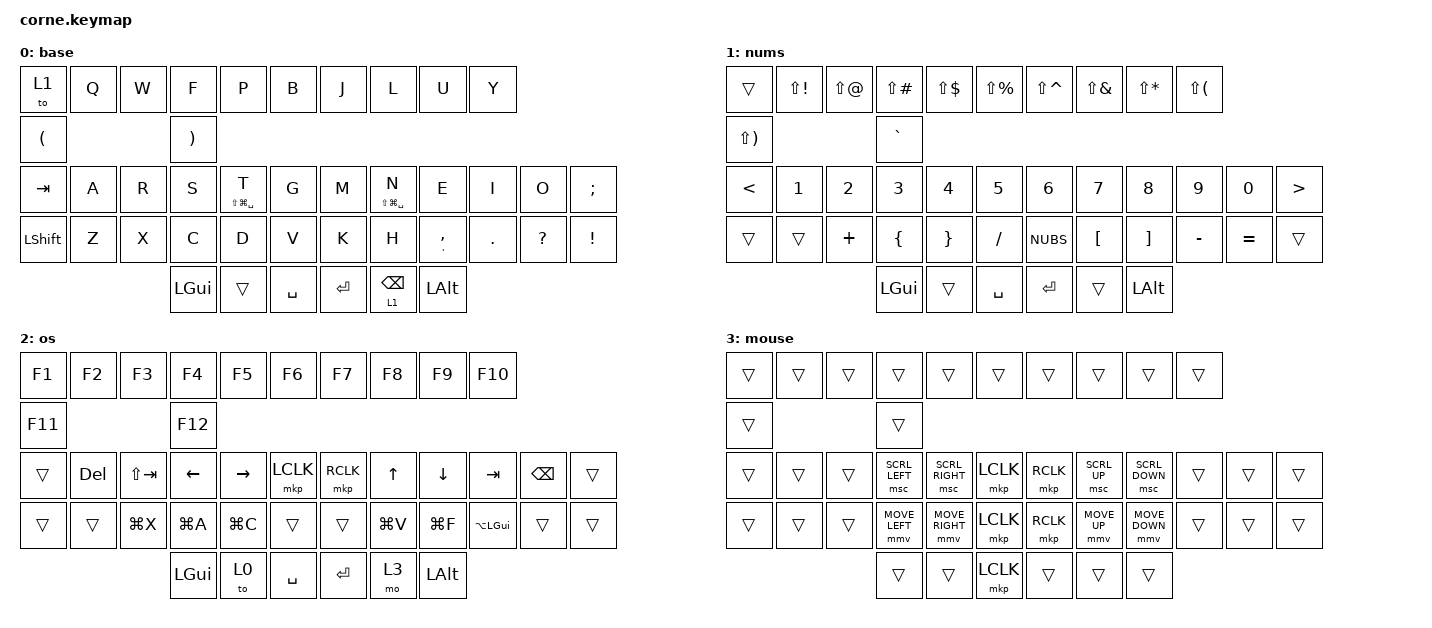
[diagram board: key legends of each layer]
/*
 * Copyright (c) 2020 The ZMK Contributors
 *
 * SPDX-License-Identifier: MIT
 */
// INCLUDES - START  ***********************************************************
// ZMK Core Includes
// JINIUS Includes
// Key position includes

#include "corne_42keys.h"
#include "keys_ru.h"
#include <behaviors.dtsi>
#include <dt-bindings/zmk/bt.h>
#include <dt-bindings/zmk/keys.h>

// INCLUDES - ENDS *************************************************************
// DEFINES - START *************************************************************
// DEFINES LAYERS - START ******************************************************
// Layer shotcuts defined for easier identification.
// The order must match in which they are defined below.

#define QWT__BT 0
#define FN__NUM 1
#define SYMBOLS 2
#define BT__NAV 3
#define CDH__BT 4

// DEFINES LAYERS - ENDS *******************************************************
// DEFINES BLUETOOTH PROFILE SELECTION - START *********************************

#define BTP0 BT_SEL 0
#define BTP1 BT_SEL 1
#define BTP2 BT_SEL 2
#define BTP3 BT_SEL 3
#define BTP4 BT_SEL 4

// DEFINES BLUETOOTH PROFILE SELECTION - ENDS **********************************
// DEFINES KEY TYPE ALIAS - START **********************************************

#define XXX &none   // To trap the key event in a given layer
#define ___ &trans  // To pass the key event to the next active layer

// DEFINES KEY TYPE ALIAS - ENDS ***********************************************
// DEFINES GLOBAL SETTINGS - START *********************************************

#define QUICK_TAP_MS 175

// DEFINES GLOBAL SETTINGS - ENDS **********************************************
// DEFINES KEY CONFIGURATION SETTINGS - START **********************************

&sk {
    release-after-ms = <900>;  // release after 0.6s
    quick-release;             // no double capitalization when rolling keys
};

&sl {
    ignore-modifiers;          // allow chording sticky mods & layers
};

&lt {
    flavor = "balanced";
    tapping-term-ms = <200>;
    quick-tap-ms = <QUICK_TAP_MS>;
};

// DEFINES KEY CONFIGURATION SETTINGS - ENDS ***********************************
// DEFINES COMBINATION KEYS FOR HOMEROW MODS - START ***************************

#define LEFT_HAND_KEYS LT0 LT1 LT2 LT3 LT4 LT5 LM0 LM1 LM2 LM3 LM4 LM5 LB0 LB1 LB2 LB3 LB4 LB5
#define RIGHT_HAND_KEYS RT0 RT1 RT2 RT3 RT4 RT5 RM0 RM1 RM2 RM3 RM4 RM5 RB0 RB1 RB2 RB3 RB4 RB5
#define THUMB_KEYS LH0 LH1 LH2 RH0 RH1 RH2

// DEFINES COMBINATION KEYS FOR HOMEROW MODS - ENDS ****************************
// DEFINES - ENDS **************************************************************
// ROOT DEVICETREE NODE - START ************************************************

/ {
    // COMBOS - START **************************************************************
    // REF: https://zmk.dev/docs/features/combos
    // NOTES: Need to figure out if a specific combo is needed.
    //    > Possible combo would be <SHIFT> + <COMMAND> + <OPTION> + V in mac to
    //      paste the clipboard content as plain text
    // COMBOS - ENDS ***************************************************************
    // BEHAVIOR - START ************************************************************
    /*
// SAMPLE CODE 01: TOGGLE-ON-TAP, MOMENTARY-ON-HOLD LAYERS
// https://zmk.dev/docs/behaviors/hold-tap
// Hold-Tap Example: Momentary layer on Hold, Toggle layer on Tap
#include <dt-bindings/zmk/keys.h>
#include <behaviors.dtsi>

#define MO_TOG(layer) &mo_tog layer layer   // Macro to apply momentary-layer-on-hold/toggle-layer-on-tap to a specific layer

/ {
    behaviors {
        mo_tog: behavior_mo_tog {
            compatible = "zmk,behavior-hold-tap";
            label = "mo_tog";
            #binding-cells = <2>;
            flavor = "hold-preferred";
            tapping-term-ms = <200>;
            bindings = <&mo>, <&tog>;
        };
    };

    keymap {
        compatible = "zmk,keymap";
        default_layer {
            bindings = <
                &mo_tog 2 1     // &mo 2 on hold, &tog 1 on tap
                MO_TOG(3)       // &mo 3 on hold, &tog 3 on tap
            >;
        };
    };
};
//******************************************************************************

// SAMPLE CODE 02: HOMEROW MODS
// https://zmk.dev/docs/behaviors/hold-tap#option-1-cross-hand-only-modifiers-using-tap-unless-interrupted-and-positional-hold-tap-hold-trigger-key-positions
// Option 1: cross-hand only modifiers, using tap-unless-interrupted and positional hold-tap (hold-trigger-key-positions)
#include <dt-bindings/zmk/keys.h>
#include <behaviors.dtsi>

/ {
    behaviors {
        lh_pht: left_hand_positional_hold_tap {
            compatible = "zmk,behavior-hold-tap";
            label = "LEFT_POSITIONAL_HOLD_TAP";
            #binding-cells = <2>;
            flavor = "tap-unless-interrupted";
            tapping-term-ms = <100>;                        // <---[[produces tap if held longer than tapping-term-ms]]
            quick-tap-ms = <200>;
            bindings = <&kp>, <&kp>;
            hold-trigger-key-positions = <5 6 7 8 9 10>;    // <---[[right-hand keys]]
        };
    };

    keymap {
        compatible = "zmk,keymap";
        default_layer {
            bindings = <
                // position 0     pos 1             pos 2             pos 3             pos 4    pos 5    pos 6    pos 7    pos 8    pos 9    pos 10
                &lh_pht LSFT A    &lh_pht LGUI S    &lh_pht LALT D    &lh_pht LCTL F    &kp G    &kp H    &kp I    &kp J    &kp K    &kp L    &kp SEMI
            >;
        };
    };
};
//******************************************************************************

// SAMPLE CODE 03: HOMEROW MODS
// https://zmk.dev/docs/behaviors/hold-tap#option-2-tap-preferred
// Option 2: tap-preferred
#include <behaviors.dtsi>
#include <dt-bindings/zmk/keys.h>

/ {
    behaviors {
        hm: homerow_mods {
            compatible = "zmk,behavior-hold-tap";
            label = "HOMEROW_MODS";
            #binding-cells = <2>;
            tapping-term-ms = <150>;
            quick-tap-ms = <0>;
            flavor = "tap-preferred";
            bindings = <&kp>, <&kp>;
        };
    };

    keymap {
        compatible = "zmk,keymap";
        default_layer {
            bindings = <
                &hm LCTRL A &hm LGUI S &hm LALT D &hm LSHIFT F
            >;
        };
    };
};
//******************************************************************************

// SAMPLE CODE 04: HOMEROW MODS
// https://zmk.dev/docs/behaviors/hold-tap#option-3-balanced
// Option 3: balanced
#include <behaviors.dtsi>
#include <dt-bindings/zmk/keys.h>

/ {
    behaviors {
        bhm: balanced_homerow_mods {
            compatible = "zmk,behavior-hold-tap";
            label = "HOMEROW_MODS";
            #binding-cells = <2>;
            tapping-term-ms = <200>;    // <---[[moderate duration]]
            quick-tap-ms = <0>;
            flavor = "balanced";
            bindings = <&kp>, <&kp>;
        };
    };

    keymap {
        compatible = "zmk,keymap";
        default_layer {
            bindings = <
                &bhm LCTRL A &bhm LGUI S &bhm LALT D &bhm LSHIFT F
            >;
        };
    };
};
//******************************************************************************

// SAMPLE CODE 05: MOD-MORPH
// https://zmk.dev/docs/behaviors/mod-morph#mod-morph
// Tapping sends first keypress
// Tapping while holding the specified modifier sends second keypress
// For Mac, adding this keypress will help with rotating between windows using
// GUI + GRAVE
// Already existing in ZMK: &gresc
// Sample to have GRAVE/ESCAPE on a single key
/ {
    behaviors {
        gresc: grave_escape {
            compatible = "zmk,behavior-mod-morph";
            label = "GRAVE_ESCAPE";
            #binding-cells = <0>;
            bindings = <&kp ESC>, <&kp GRAVE>;
            mods = <(MOD_LGUI|MOD_LSFT|MOD_RGUI|MOD_RSFT)>;
        };
    };
};
*/
    // BEHAVIOR DEFINITIONS - START **********************************************
    // Homerow mod definition for left hand keys

    behaviors {
        /***********************************************
     **  Homerow mod for left split keyboard
     **  as explained here: https://github.com/urob/zmk-config#timeless-homerow-mods
     **  This is a expanded version of the same functionality along with the timings
     ***********************************************/

        hml: homerow_mod_left {
            label = "HOMEROW_MOD_LEFT";
            compatible = "zmk,behavior-hold-tap";
            #binding-cells = <2>;
            bindings = <&kp>, <&kp>;

            flavor = "balanced";
            tapping-term-ms = <280>;
            quick-tap-ms = <QUICK_TAP_MS>;
            require-prior-idle-ms = <150>;
            hold-trigger-key-positions = <RIGHT_HAND_KEYS THUMB_KEYS>;
            hold-trigger-on-release;
        };

        /***********************************************
     **  Homerow mod for right split keyboard
     **  as explained here: https://github.com/urob/zmk-config#timeless-homerow-mods
     **  This is a expanded version of the same functionality along with the timings
     ***********************************************/

        hmr: homerow_mod_right {
            label = "HOMEROW_MOD_RIGHT";
            compatible = "zmk,behavior-hold-tap";
            #binding-cells = <2>;
            bindings = <&kp>, <&kp>;

            flavor = "balanced";
            tapping-term-ms = <280>;
            quick-tap-ms = <QUICK_TAP_MS>;
            require-prior-idle-ms = <150>;
            hold-trigger-key-positions = <LEFT_HAND_KEYS THUMB_KEYS>;
            hold-trigger-on-release;
        };

        /***********************************************
     **  Homerow mod for left split keyboard using Bluetooth profile selection 
     **  as explained here: https://github.com/urob/zmk-config#timeless-homerow-mods
     **  This is a expanded version of the same functionality along with the timings
     **  This behavior is used in the Bluetooth-Navigation layer only
     ***********************************************/

        hmlb: homerow_mod_left_bluetooth {
            label = "HOMEROW_MOD_LEFT_BLUETOOTH";
            compatible = "zmk,behavior-hold-tap";
            #binding-cells = <2>;
            bindings = <&kp>, <&bt>;

            flavor = "balanced";
            tapping-term-ms = <280>;
            quick-tap-ms = <QUICK_TAP_MS>;
            require-prior-idle-ms = <150>;
            hold-trigger-key-positions = <RIGHT_HAND_KEYS THUMB_KEYS>;
            hold-trigger-on-release;
        };

        /***********************************************
     **  Smart Shift Key: As explained here: https://github.com/minusfive/zmk-config#smart-shift
     **  This configuration is for the left split keyboard
     **  Similar setup is defined for the right split keyboard
     **     hold: shift
     **     tap: sticky shift
     **     double-tap: caps-word
     ***********************************************/

        ss_left: smart_shift_left {
            label = "SMART_SHIFT_LEFT";
            compatible = "zmk,behavior-mod-morph";
            #binding-cells = <0>;
            bindings = <&sk LSHFT>, <&caps_word>;

            mods = <(MOD_LSFT)>;
        };

        /***********************************************
     **  Smart Shift Key: As explained here: https://github.com/minusfive/zmk-config#smart-shift
     **  This configuration is for the right split keyboard
     **  Similar setup is defined for the left split keyboard
     **     hold: shift
     **     tap: sticky shift
     **     double-tap: caps-word
     ***********************************************/

        ss_right: smart_shift_right {
            label = "SMART_SHIFT_RIGHT";
            compatible = "zmk,behavior-mod-morph";
            #binding-cells = <0>;
            bindings = <&sk RSHFT>, <&caps_word>;

            mods = <(MOD_RSFT)>;
        };

        /***********************************************
     **  Backspace Delete: As defined here: https://github.com/minusfive/zmk-config/blob/main/knucklehead/behaviors.dtsi
     **     tap: backspace
     **     hold: repeat backspace
     **     shift + tap: delete
     **     shift + hold: repeat delete
     ***********************************************/

        bkspc_del: backspace_delete {
            label = "BACKSPACE_DELETE";
            compatible = "zmk,behavior-mod-morph";
            #binding-cells = <0>;
            bindings = <&kp BACKSPACE>, <&kp DELETE>;

            mods = <(MOD_LSFT|MOD_RSFT)>;
        };

        /***********************************************
     **  ESC Grave:
     **     tap: ESCAPE (ESC)
     **     hold: repeat ESCAPE (ESC)
     **     gui/command + tap: command + grave (~)
     **     gui/command + : repeat command + grave (~)
     ***********************************************/

        escgrv: escape_grave {
            compatible = "zmk,behavior-mod-morph";
            label = "ESCAPE_GRAVE";
            #binding-cells = <0>;
            bindings = <&kp ESC>, <&kp GRAVE>;

            mods = <(MOD_LGUI|MOD_RGUI)>;
            keep-mods = <(MOD_LGUI|MOD_RGUI)>;
        };

        /***********************************************
     **  Caret Exclamation:
     **     tap: caret (^)
     **     hold: repeat caret (^)
     **     shift + tap: exclamation (!)
     **     shift + hold: repeat exclamation (!)
     ***********************************************/

        cart_excl: caret_exclamation {
            label = "CARET_EXCLAMATION";
            compatible = "zmk,behavior-mod-morph";
            #binding-cells = <0>;
            bindings = <&kp CARET>, <&kp EXCL>;

            mods = <(MOD_LSFT|MOD_RSFT)>;
        };

        /***********************************************
     **  At Ampersand:
     **     tap: ampersand (&)
     **     hold: repeat ampersand (&)
     **     shift + tap: at (@)
     **     shift + hold: repeat at (@)
     ***********************************************/

        amp_at: ampersand_at {
            label = "AMPERSAND_AT";
            compatible = "zmk,behavior-mod-morph";
            #binding-cells = <0>;
            bindings = <&kp AMPS>, <&kp AT>;

            mods = <(MOD_LSFT|MOD_RSFT)>;
        };

        /***********************************************
     **  Star Hash:
     **     tap: star (*)
     **     hold: repeat star (*)
     **     shift + tap: hash (#)
     **     shift + hold: repeat hash (#)
     ***********************************************/

        star_hash: star_hash {
            label = "STAR_HASH";
            compatible = "zmk,behavior-mod-morph";
            #binding-cells = <0>;
            bindings = <&kp STAR>, <&kp HASH>;

            mods = <(MOD_LSFT|MOD_RSFT)>;
        };

        /***********************************************
     **  Left Parenthesis Dollar:
     **     tap: left parenthesis (()
     **     hold: repeat left parenthesis (()
     **     shift + tap: dollar ($)
     **     shift + hold: repeat dollar ($)
     ***********************************************/

        lpar_dllr: l_parenthesis_dollar {
            label = "LEFT_PARENTHESIS_DOLLAR";
            compatible = "zmk,behavior-mod-morph";
            #binding-cells = <0>;
            bindings = <&kp LPAR>, <&kp DOLLAR>;

            mods = <(MOD_LSFT|MOD_RSFT)>;
        };

        /***********************************************
     **  Right Parenthesis Percent:
     **     tap: right parenthesis ())
     **     hold: repeat right parenthesis ())
     **     shift + tap: percent (%)
     **     shift + hold: repeat percent (%)
     ***********************************************/

        rpar_prcnt: r_parenthesis_percent {
            label = "RIGHT_PARENTHESIS_PERCENT";
            compatible = "zmk,behavior-mod-morph";
            #binding-cells = <0>;
            bindings = <&kp RPAR>, <&kp PERCENT>;

            mods = <(MOD_LSFT|MOD_RSFT)>;
        };

        /***********************************************
     **  SPACE COMMAND LAYER FUN/NUM: On the left key board
     **     tap: space
     **     hold: command
     **     double tap: toggle layer
     ***********************************************/

        s_c_fn_l: space_cmd_funnum_left {
            label = "SPACE_CMD_FUNNUM_LEFT";
            compatible = "zmk,behavior-tap-dance";
            #binding-cells = <0>;
            tapping-term-ms = <200>;
            bindings = <&mt LGUI SPACE>, <&tog FN__NUM>;
        };

        /***********************************************
     **  SPACE COMMAND LAYER SYMBOLS: On the right key board
     **     tap: space
     **     hold: command
     **     double tap: toggle layer
     ***********************************************/

        s_c_sym_r: space_cmd_sym_right {
            label = "SPACE_CMD_SYMBOLS_RIGHT";
            compatible = "zmk,behavior-tap-dance";
            #binding-cells = <0>;
            tapping-term-ms = <200>;
            bindings = <&mt RGUI SPACE>, <&tog SYMBOLS>;
        };

        /***********************************************
     **  CONTROL LAYER BT__NAV: On the left key board
     **     tap: none
     **     hold: control
     **     double tap: toggle layer
     ***********************************************/

        c_btnav_l: cntrl_bt_nav_left {
            label = "CONTROL_BT_NAV_LEFT";
            compatible = "zmk,behavior-tap-dance";
            #binding-cells = <0>;
            tapping-term-ms = <200>;
            bindings = <&mt LCTRL XXX>, <&tog BT__NAV>;
        };

        /***********************************************
     **  CONTROL LAYER COLEMAKDH: On the right key board
     **     tap: none
     **     hold: control
     **     double tap: toggle layer
     ***********************************************/

        c_cdh_r: ctrl_cdh_right {
            label = "CONTROL_COLEMAKDH_RIGHT";
            compatible = "zmk,behavior-tap-dance";
            #binding-cells = <0>;
            tapping-term-ms = <200>;
            bindings = <&mt LCTRL XXX>, <&tog CDH__BT>;
        };
    };

    // BEHAVIOR DEFINITIONS - END ************************************************
    // BEHAVIOR - ENDS *************************************************************
    // MACROS - START **************************************************************
    /* ** Macro definition currently not in use
 ** Place holder only.
 ** Will be used later for switching between my personal Mac and Windows system switching
    macros {
      con_bt: con_bt {
        label = "con_bt";
        compatible = "zmk,behavior-macro";
        #binding-cells = <0>;
        bindings
          = <&macro_tap &bt BT_SEL 0>
          , <&macro_tap &tog 0>
        ;
      };
      
      con_usb: con_usb {
        label = "con_usb";
        compatible = "zmk,behavior-macro";
        #binding-cells = <0>;
        bindings
          = <&macro_tap &out OUT_USB>
          , <&macro_tap &tog 1>
        ;
      };
    };
*/
    // MACROS - ENDS ***************************************************************
    // KEYMAP NODE - START *********************************************************


    // LAYERS - ENDS ***************************************************************

    keymap {
        compatible = "zmk,keymap";

        base {
            bindings = <
          &to 1     &kp Q  &kp W  &kp F     &kp P                 &kp B        &kp J    &kp L                 &kp U           &kp
          Y    &kp LEFT_PARENTHESIS  &kp RIGHT_PARENTHESIS
          &kp TAB    &kp A  &kp R  &kp S     &hml LS(LG(SPACE)) T  &kp G        &kp M    &hml LS(LG(SPACE)) N  &kp E           &kp I    &kp O                 &kp SEMI
          &kp LSHFT  &kp Z  &kp X  &kp C     &kp D                 &kp V        &kp K    &kp H                 &hml SQT COMMA  &kp DOT  &kp QUESTION          &kp EXCLAMATION
                                   &kp LGUI  &trans                &kp SPACE    &kp RET  &lt 1 BACKSPACE       &kp LALT
                >;
        };

        nums {
                    bindings = <
        &trans         &kp LS(EXCL)   &kp LS(AT)   &kp LS(POUND)   &kp LS(DLLR)     &kp LS(PRCNT)    &kp LS(CARET)  &kp LS(AMPS)
        &kp LS(STAR)  &kp LS(LPAR)  &kp LS(RPAR)  &kp GRAVE
        &kp LESS_THAN  &kp N1         &kp N2       &kp N3          &kp N4           &kp N5           &kp N6         &kp N7        &kp N8        &kp N9        &kp N0        &kp GREATER_THAN
        &trans        &trans  &kp PLUS  &kp LEFT_BRACE  &kp RIGHT_BRACE  &kp FSLH         &kp NUBS       &kp LBKT
        &kp RBKT      &kp MINUS     &kp EQUAL     &trans
                                                   &kp LGUI        &trans           &kp SPACE        &kp RET        &trans        &kp LALT
                    >;
                };

        os {
                    bindings = <
        &kp F1  &kp F2      &kp F3       &kp F4     &kp F5     &kp F6       &kp F7     &kp F8     &kp F9     &kp F10       &kp F11        &kp F12
        &trans  &kp DELETE  &kp LS(TAB)  &kp LEFT   &kp RIGHT  &mkp LCLK    &mkp RCLK  &kp UP     &kp DOWN   &kp TAB       &kp BACKSPACE  &trans
        &trans  &trans      &kp LG(X)    &kp LG(A)  &kp LG(C)  &trans       &trans     &kp LG(V)  &kp LG(F)  &kp LA(LGUI)  &trans         &trans
                                         &kp LGUI   &to 0      &kp SPACE    &kp ENTER  &mo 3      &kp LALT
                    >;
                };

                mouse {
                    bindings = <
        &trans  &trans  &trans  &trans          &trans           &trans       &trans     &trans        &trans          &trans  &trans  &trans
        &trans  &trans  &trans  &msc SCRL_LEFT  &msc SCRL_RIGHT  &mkp LCLK    &mkp RCLK  &msc SCRL_UP  &msc SCRL_DOWN  &trans  &trans  &trans
        &trans  &trans  &trans  &mmv MOVE_LEFT  &mmv MOVE_RIGHT  &mkp LCLK    &mkp RCLK  &mmv MOVE_UP  &mmv MOVE_DOWN  &trans  &trans  &trans
                                &trans          &trans           &mkp LCLK    &trans     &trans        &trans
                    >;
                };

    };

// KEYMAP NODE - ENDS **********************************************************

};

// ROOT DEVICETREE NODE - ENDS *************************************************
